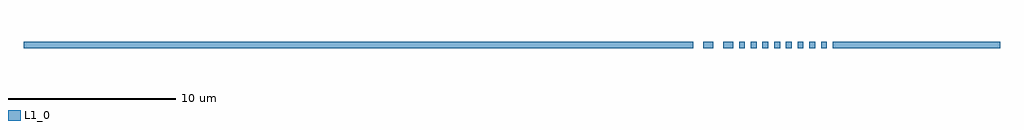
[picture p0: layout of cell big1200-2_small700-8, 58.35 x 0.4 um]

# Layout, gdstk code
import gdstk
lib = gdstk.Library(unit=1e-6, precision=1e-09)
def R(c, l, rs):  # rectangles x0, y0, x1, y1
    for r in rs: c.add(gdstk.rectangle(r[:2], r[2:], *l))
def A(c, l, x, y, w, h, nx, ny, dx, dy):  # array of equal rectangles
    R(c, l, [(x+i*dx, y+j*dy, x+i*dx+w, y+j*dy+h) for i in range(nx) for j in range(ny)])
L1_0 = (1, 0)

big1200_2_small700_8 = lib.new_cell('big1200-2_small700-8')
A(big1200_2_small700_8, L1_0, 2.75, 0, 0.35, 0.4, 8, 1, 0.7, 0)
R(big1200_2_small700_8, L1_0, [(-40,0,0,0.4), (0.6,0,1.2,0.4), (1.8,0,2.4,0.4), (8.35,0,18.35,0.4)])

lib.write_gds('big1200-2_small700-8.gds')
